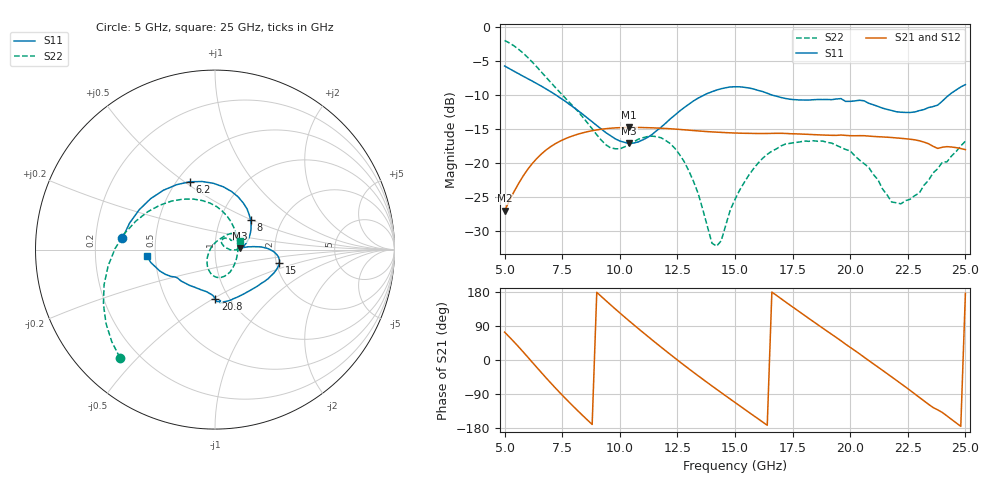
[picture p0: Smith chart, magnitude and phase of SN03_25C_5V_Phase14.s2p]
!File name = SN03_25C_5V_Phase14.s2p
!Date = 2/3/2014
!Time = 2:35 PM
!Test duration(min) = 0.07
!Test = SPars
!MPTS version = 7.120.8
!Comments =
!set_LD1(binary) = 14
!set_LD2(binary) = 524273
!test = SPars
!date_code = 20140203
!file_name = SN03_25C_5V_Phase14.s2p
!VREF(V) = 5.000
!VREF(mA) = 0.003
# GHz  S  DB  R  50
!%	Freq(GHz)  S11(dB)  S11(deg)  S21(dB)  S21(deg)  S12(dB)  S12(deg)  S22(dB)  S22(deg)
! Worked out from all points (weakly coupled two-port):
!   101 points, 5 GHz to 25 GHz, reference 50 ohm
!   highest |S21| = -14.71 dB at 10.4 GHz (marker M1); lowest = -26.9 dB at 5 GHz (marker M2)
!   lowest |S11| = -17.1 dB at 10.4 GHz (marker M3), VSWR 1.33, Z = 66.3 + j0.898 ohm
!   |S11| at or under -10 dB: 7.253 GHz to 13.63 GHz (6.379 GHz wide, 61.1 % of centre); 16.67 GHz to 24.27 GHz (7.604 GHz wide, 37.2 % of centre)
!   |S22| runs from -32.2 to -1.9 dB; largest |S21 - S12| = 0.00053
!   S11 on the Smith chart (normalised r, x): 5 GHz: 0.32, +0.05; 6.2 GHz: 0.58, +0.52; 8 GHz: 1.39, +0.49; 15 GHz: 2.08, -0.35; 20.8 GHz: 0.86, -0.52; 25 GHz: 0.45, -0.04
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5  -5.67 173.1  -26.95 73.5  -26.96 73.5  -1.92 -131.4
5.6  -6.80 141.6  -23.01 35.2  -23.02 35.2  -3.20 -153.9
6.2  -7.89 110.4  -20.02 -5.9  -20.04 -5.9  -5.09 179.4
7  -9.46 74.1  -17.54 -60.4  -17.56 -60.3  -8.08 141.2
8  -11.76 39.7  -15.90 -123.4  -15.93 -123.3  -11.69 96.1
8.4  -12.79 29.0  -15.50 -147.1  -15.52 -147.0  -13.23 79.2
9.6  -15.93 6.3  -14.83 145.6  -14.84 145.7  -17.72 11.4
10.4  -17.07 2.7  -14.71 103.4  -14.72 103.5  -17.27 -38.1
11.8  -14.65 4.9  -14.83 33.6  -14.84 33.6  -16.24 -87.8
12.4  -12.87 4.1  -14.95 4.7  -14.96 4.7  -17.83 -102.8
13  -11.29 2.4  -15.11 -23.4  -15.12 -23.4  -21.13 -120.3
13.4  -10.40 0.5  -15.22 -41.6  -15.23 -41.7  -24.42 -135.1
14  -9.46 -3.3  -15.37 -68.4  -15.37 -68.5  -31.73 174.1
14.4  -9.02 -6.2  -15.44 -86.0  -15.45 -86.1  -31.40 114.3
15  -8.73 -11.6  -15.53 -112.1  -15.54 -112.1  -25.30 72.1
16.4  -9.68 -32.7  -15.60 -172.2  -15.62 -172.2  -18.67 47.8
18.4  -10.63 -71.9  -15.77 101.4  -15.79 101.4  -16.67 22.3
20  -10.88 -83.8  -15.93 33.4  -15.93 33.4  -18.17 0.1
20.8  -11.16 -89.5  -15.98 -1.2  -15.99 -1.2  -20.57 -1.0
21.8  -12.22 -97.7  -16.20 -44.6  -16.21 -44.6  -25.68 22.5
23  -12.23 -125.3  -16.67 -98.7  -16.68 -98.6  -24.36 56.3
25  -8.40 -174.3  -17.98 175.9  -17.99 175.9  -16.74 18.5
